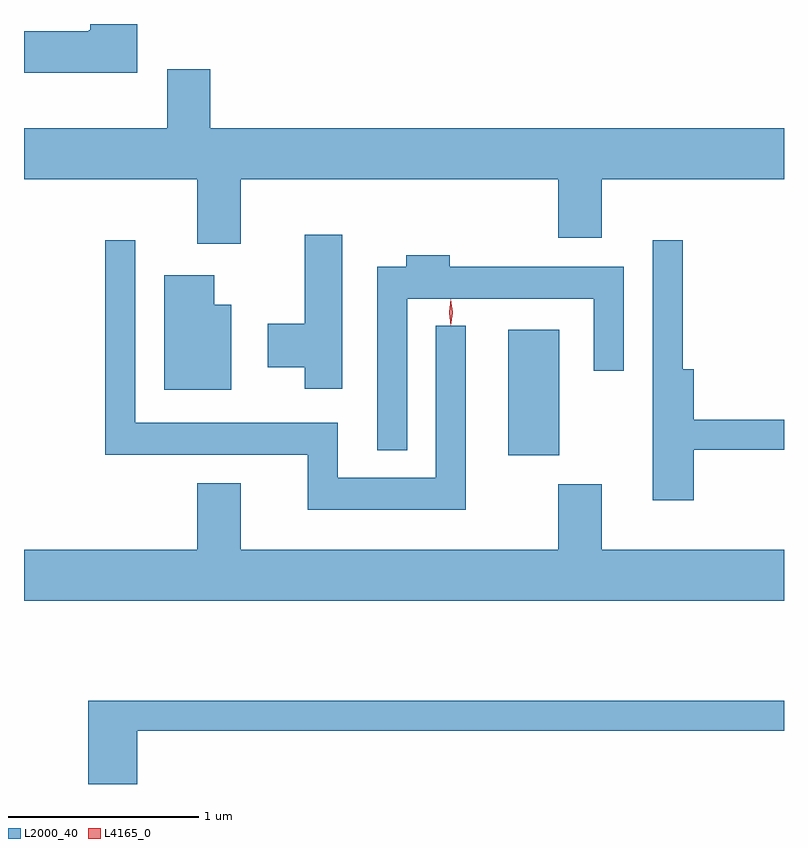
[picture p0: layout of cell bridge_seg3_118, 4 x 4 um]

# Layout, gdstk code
import gdstk
lib = gdstk.Library(unit=1e-6, precision=1e-09)
def R(c, l, rs):  # rectangles x0, y0, x1, y1
    for r in rs: c.add(gdstk.rectangle(r[:2], r[2:], *l))
def P(c, l, *ps):  # polygons
    for p in ps: c.add(gdstk.Polygon(p, *l))
L2000_40 = (2000, 40)
L4165_0 = (4165, 0)

bridge_seg3_118 = lib.new_cell('bridge_seg3_118')
R(bridge_seg3_118, L2000_40, [(923.806,1231.121,924.074,1231.784)])
P(bridge_seg3_118, L2000_40, [(921.854,1233.392),(921.606,1233.392),(921.606,1233.36),(921.6,1233.36),(921.6,1233.354),(921.258,1233.354),(921.258,1233.136),(921.854,1233.136)],
  [(922.399,1232.576),(924.071,1232.576),(924.071,1232.266),(924.299,1232.266),(924.299,1232.576),(925.258,1232.576),(925.258,1232.844),(922.239,1232.844),(922.239,1233.154),(922.011,1233.154),(922.011,1232.844),(921.258,1232.844),(921.258,1232.576),(922.171,1232.576),(922.171,1232.236),(922.399,1232.236)],
  [(922.934,1232.284),(922.736,1232.284),(922.736,1231.814),(922.541,1231.814),(922.541,1231.586),(922.736,1231.586),(922.736,1231.471),(922.934,1231.471)],
  [(923.584,1231.803),(923.426,1231.803),(923.426,1231.004),(922.909,1231.004),(922.909,1231.294),(921.844,1231.294),(921.844,1232.253),(921.686,1232.253),(921.686,1231.126),(922.751,1231.126),(922.751,1230.836),(923.584,1230.836)],
  [(924.784,1231.151),(925.258,1231.151),(925.258,1231.309),(924.784,1231.309),(924.784,1231.574),(924.724,1231.574),(924.724,1232.253),(924.566,1232.253),(924.566,1230.886),(924.784,1230.886)],
  [(923.274,1231.946),(924.256,1231.946),(924.256,1231.568),(924.414,1231.568),(924.414,1232.114),(923.499,1232.114),(923.499,1232.174),(923.271,1232.174),(923.271,1232.114),(923.116,1232.114),(923.116,1231.148),(923.274,1231.148)],
  [(922.349,1231.914),(922.259,1231.914),(922.259,1232.069),(921.996,1232.069),(921.996,1231.466),(922.349,1231.466)],
  [(925.258,1230.624),(924.299,1230.624),(924.299,1230.969),(924.071,1230.969),(924.071,1230.624),(922.399,1230.624),(922.399,1230.974),(922.171,1230.974),(922.171,1230.624),(921.258,1230.624),(921.258,1230.356),(925.258,1230.356)],
  [(921.854,1229.671),(925.258,1229.671),(925.258,1229.829),(921.596,1229.829),(921.596,1229.392),(921.854,1229.392)])
P(bridge_seg3_118, L4165_0, [(923.505,1231.807),(923.504,1231.808),(923.495,1231.874),(923.504,1231.94),(923.505,1231.941),(923.505,1231.94),(923.515,1231.874),(923.505,1231.808)],
  [(923.504,1231.804),(923.495,1231.873),(923.504,1231.943),(923.505,1231.943),(923.505,1231.943),(923.515,1231.873),(923.505,1231.804),(923.505,1231.804)])

lib.write_gds('bridge_seg3_118.gds')
